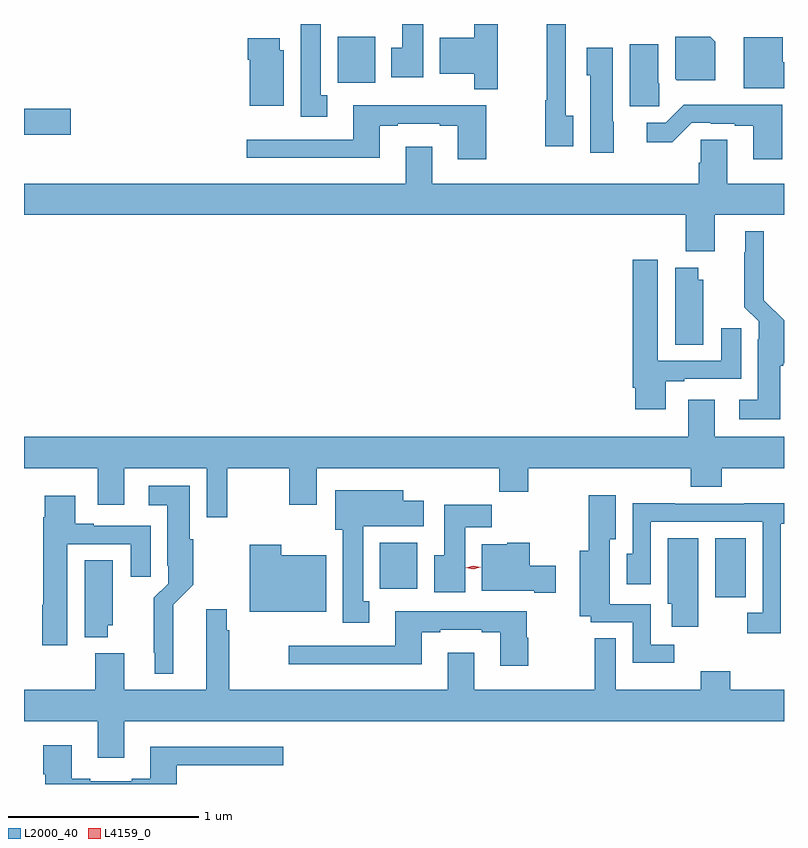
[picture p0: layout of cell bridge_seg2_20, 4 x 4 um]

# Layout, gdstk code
import gdstk
lib = gdstk.Library(unit=1e-6, precision=1e-09)
def R(c, l, rs):  # rectangles x0, y0, x1, y1
    for r in rs: c.add(gdstk.rectangle(r[:2], r[2:], *l))
def P(c, l, *ps):  # polygons
    for p in ps: c.add(gdstk.Polygon(p, *l))
L2000_40 = (2000, 40)
L4159_0 = (4159, 0)

bridge_seg2_20 = lib.new_cell('bridge_seg2_20')
R(bridge_seg2_20, L2000_40, [(883.298,613.656,883.459,613.967), (881.534,613.7,881.731,613.942), (879.661,616.091,879.907,616.226), (881.312,616.364,881.509,616.606)])
P(bridge_seg2_20, L2000_40, [(881.257,616.298),(881.224,616.298),(881.224,616.673),(881.117,616.673),(881.117,616.185),(881.257,616.185)],
  [(882.154,616.673),(882.032,616.673),(882.032,616.6),(881.849,616.6),(881.849,616.412),(882.032,616.412),(882.032,616.33),(882.154,616.33)],
  [(882.553,616.19),(882.513,616.19),(882.513,616.673),(882.412,616.673),(882.412,616.273),(882.405,616.273),(882.405,616.029),(882.553,616.029)],
  [(881.761,616.673),(881.651,616.673),(881.651,616.548),(881.594,616.548),(881.594,616.392),(881.761,616.392)],
  [(883.3,616.58),(883.274,616.606),(883.088,616.606),(883.088,616.384),(883.096,616.376),(883.3,616.376)],
  [(883.661,616.473),(883.654,616.473),(883.654,616.604),(883.448,616.604),(883.448,616.334),(883.661,616.334)],
  [(881.029,616.536),(881.008,616.536),(881.008,616.597),(880.838,616.597),(880.838,616.484),(880.85,616.484),(880.85,616.244),(881.029,616.244)],
  [(883.004,616.362),(883,616.362),(883,616.567),(882.848,616.567),(882.848,616.239),(883.004,616.239)],
  [(882.766,616.158),(882.76,616.158),(882.76,616.549),(882.623,616.549),(882.623,616.404),(882.641,616.404),(882.641,615.996),(882.766,615.996)],
  [(883.652,616.247),(883.133,616.247),(883.038,616.152),(882.939,616.152),(882.939,616.05),(883.074,616.05),(883.176,616.152),(883.276,616.152),(883.276,616.149),(883.403,616.149),(883.403,616.137),(883.499,616.137),(883.499,615.96),(883.652,615.96)],
  [(882.093,616.245),(881.981,616.245),(881.981,616.246),(881.393,616.246),(881.393,616.065),(880.833,616.065),(880.833,615.968),(881.533,615.968),(881.533,616.137),(881.629,616.137),(881.629,616.149),(881.849,616.149),(881.849,616.137),(881.945,616.137),(881.945,615.96),(882.093,615.96)],
  [(883.297,615.668),(883.661,615.668),(883.661,615.832),(883.363,615.832),(883.363,616.064),(883.224,616.064),(883.224,615.942),(883.211,615.942),(883.211,615.832),(881.809,615.832),(881.809,616.027),(881.669,616.027),(881.669,615.832),(879.661,615.832),(879.661,615.668),(883.145,615.668),(883.145,615.476),(883.297,615.476)],
  [(883.642,614.874),(883.656,614.874),(883.656,614.888),(883.661,614.888),(883.661,615.114),(883.555,615.22),(883.555,615.583),(883.457,615.583),(883.457,615.473),(883.453,615.473),(883.453,615.182),(883.527,615.108),(883.527,615.014),(883.523,615.014),(883.523,614.695),(883.425,614.695),(883.425,614.594),(883.642,614.594)],
  [(883.039,614.793),(883.135,614.793),(883.135,614.805),(883.435,614.805),(883.435,615.073),(883.331,615.073),(883.331,614.901),(882.997,614.901),(882.997,615.433),(882.866,615.433),(882.866,614.758),(882.878,614.758),(882.878,614.646),(883.039,614.646)],
  [(883.237,615.327),(883.21,615.327),(883.21,615.391),(883.088,615.391),(883.088,614.986),(883.237,614.986)],
  [(880.732,614.336),(881.056,614.336),(881.056,614.142),(881.203,614.142),(881.203,614.336),(882.163,614.336),(882.163,614.212),(882.315,614.212),(882.315,614.336),(883.169,614.336),(883.169,614.237),(883.334,614.237),(883.334,614.336),(883.661,614.336),(883.661,614.5),(883.297,614.5),(883.297,614.695),(883.157,614.695),(883.157,614.5),(879.661,614.5),(879.661,614.336),(880.049,614.336),(880.049,614.142),(880.189,614.142),(880.189,614.336),(880.623,614.336),(880.623,614.076),(880.732,614.076)],
  [(880.447,613.616),(880.552,613.722),(880.552,613.962),(880.534,613.962),(880.534,614.242),(880.317,614.242),(880.317,614.141),(880.415,614.141),(880.415,613.822),(880.419,613.822),(880.419,613.728),(880.345,613.654),(880.345,613.363),(880.349,613.363),(880.349,613.253),(880.447,613.253)],
  [(881.479,613.634),(881.446,613.634),(881.446,614.03),(881.764,614.03),(881.764,614.164),(881.656,614.164),(881.656,614.218),(881.3,614.218),(881.3,614.01),(881.339,614.01),(881.339,613.521),(881.479,613.521)],
  [(883.084,613.407),(882.96,613.407),(882.96,613.62),(882.745,613.62),(882.745,613.961),(882.775,613.961),(882.775,614.194),(882.634,614.194),(882.634,613.9),(882.587,613.9),(882.587,613.556),(882.644,613.556),(882.644,613.524),(882.864,613.524),(882.864,613.31),(883.084,613.31)],
  [(879.889,613.935),(880.223,613.935),(880.223,613.764),(880.327,613.764),(880.327,614.031),(880.027,614.031),(880.027,614.044),(879.931,614.044),(879.931,614.191),(879.77,614.191),(879.77,614.078),(879.763,614.078),(879.763,613.616),(879.758,613.616),(879.758,613.404),(879.889,613.404)],
  [(883.644,614.042),(883.661,614.042),(883.661,614.15),(883.451,614.15),(883.451,614.148),(883.085,614.148),(883.085,614.15),(882.864,614.15),(882.864,613.884),(882.833,613.884),(882.833,613.725),(882.96,613.725),(882.96,614.052),(883.548,614.052),(883.548,613.575),(883.467,613.575),(883.467,613.467),(883.644,613.467)],
  [(881.983,614.024),(882.122,614.024),(882.122,614.143),(881.873,614.143),(881.873,613.876),(881.819,613.876),(881.819,613.683),(881.983,613.683)],
  [(883.21,613.967),(883.049,613.967),(883.049,613.623),(883.07,613.623),(883.07,613.5),(883.21,613.5)],
  [(882.46,613.821),(882.322,613.821),(882.322,613.942),(882.204,613.942),(882.204,613.936),(882.071,613.936),(882.071,613.691),(882.347,613.691),(882.347,613.679),(882.46,613.679)],
  [(881.251,613.876),(881.016,613.876),(881.016,613.933),(880.85,613.933),(880.85,613.58),(881.251,613.58)],
  [(880.102,613.509),(880.129,613.509),(880.129,613.85),(879.98,613.85),(879.98,613.445),(880.102,613.445)],
  [(880.189,613.004),(883.661,613.004),(883.661,613.168),(883.377,613.168),(883.377,613.267),(883.222,613.267),(883.222,613.168),(882.775,613.168),(882.775,613.439),(882.664,613.439),(882.664,613.168),(882.031,613.168),(882.031,613.363),(881.891,613.363),(881.891,613.168),(880.742,613.168),(880.742,613.481),(880.729,613.481),(880.729,613.594),(880.619,613.594),(880.619,613.168),(880.189,613.168),(880.189,613.36),(880.037,613.36),(880.037,613.168),(879.661,613.168),(879.661,613.004),(880.049,613.004),(880.049,612.81),(880.189,612.81)],
  [(882.315,613.443),(882.307,613.443),(882.307,613.581),(881.615,613.581),(881.615,613.401),(881.055,613.401),(881.055,613.304),(881.755,613.304),(881.755,613.473),(881.851,613.473),(881.851,613.485),(882.071,613.485),(882.071,613.473),(882.167,613.473),(882.167,613.296),(882.315,613.296)],
  [(880.465,612.771),(881.026,612.771),(881.026,612.868),(880.325,612.868),(880.325,612.7),(880.229,612.7),(880.229,612.687),(880.009,612.687),(880.009,612.7),(879.913,612.7),(879.913,612.877),(879.761,612.877),(879.761,612.724),(879.773,612.724),(879.773,612.673),(880.465,612.673)])
P(bridge_seg2_20, L4159_0, [(882.026,613.803),(881.985,613.812),(881.985,613.812),(881.985,613.812),(882.025,613.823),(882.066,613.814),(882.066,613.814),(882.066,613.813)])

lib.write_gds('bridge_seg2_20.gds')
